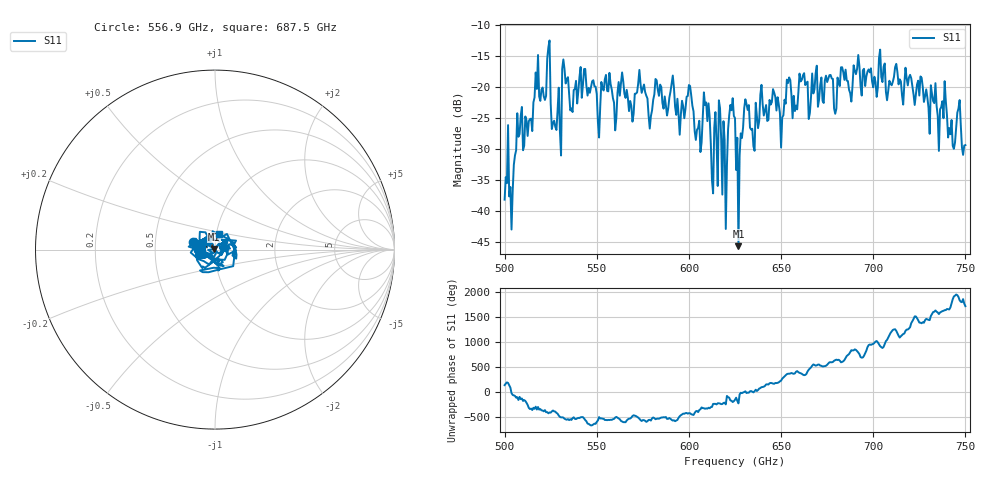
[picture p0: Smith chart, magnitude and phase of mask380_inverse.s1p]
!Created with skrf (http://scikit-rf.org).
# GHz S MA R 50.0
!freq magS11 angS11
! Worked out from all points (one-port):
!   401 points, 500 GHz to 750 GHz, reference 50 ohm
!   lowest |S11| = -45.7 dB at 626.9 GHz (marker M1), VSWR 1.01, Z = 49.6 + j0.372 ohm
!   |S11| at or under -10 dB: start of sweep to end of sweep
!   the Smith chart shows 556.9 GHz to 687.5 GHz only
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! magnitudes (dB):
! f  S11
! 500 GHz  -38.2
! 503.8 GHz  -43.0
! 508.1 GHz  -27.6
! 513.8 GHz  -25.2
! 516.9 GHz  -17.7
! 523.8 GHz  -13.7
! 526.9 GHz  -25.5
! 531.2 GHz  -17.1
! 532.5 GHz  -17.2
! 550.6 GHz  -25.7
! 562.5 GHz  -21.5
! 593.8 GHz  -22.0
! 600 GHz  -19.7
! 605.6 GHz  -25.5
! 609.4 GHz  -22.5
! 612.5 GHz  -35.1
! 617.5 GHz  -28.4
! 619.4 GHz  -28.7
! 622.5 GHz  -22.9
! 625 GHz  -25.1
! 626.9 GHz  -45.7
! 631.2 GHz  -22.8
! 634.4 GHz  -26.8
! 640 GHz  -22.8
! 656.2 GHz  -25.1
! 687.5 GHz  -21.1
! 718.8 GHz  -19.8
! 750 GHz  -29.4
